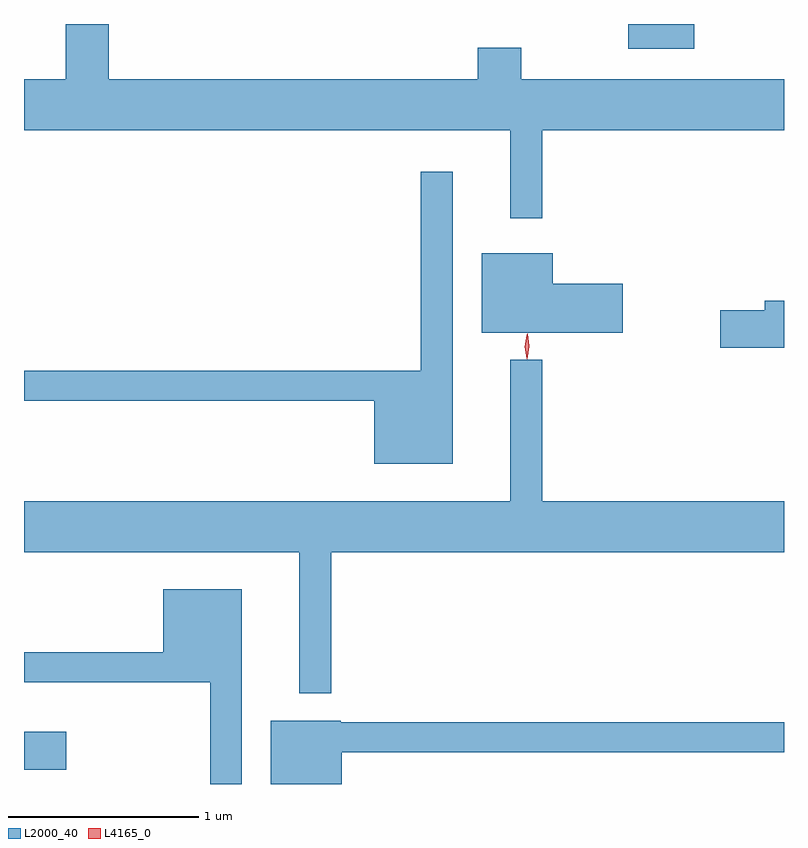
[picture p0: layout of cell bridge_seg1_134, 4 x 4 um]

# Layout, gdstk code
import gdstk
lib = gdstk.Library(unit=1e-6, precision=1e-09)
def R(c, l, rs):  # rectangles x0, y0, x1, y1
    for r in rs: c.add(gdstk.rectangle(r[:2], r[2:], *l))
def P(c, l, *ps):  # polygons
    for p in ps: c.add(gdstk.Polygon(p, *l))
L2000_40 = (2000, 40)
L4165_0 = (4165, 0)

bridge_seg1_134 = lib.new_cell('bridge_seg1_134')
R(bridge_seg1_134, L2000_40, [(1427.422,918.411,1427.644,918.609), (1430.603,922.206,1430.949,922.335)])
P(bridge_seg1_134, L2000_40, [(1430.149,921.776),(1431.422,921.776),(1431.422,922.044),(1430.039,922.044),(1430.039,922.209),(1429.811,922.209),(1429.811,922.044),(1427.869,922.044),(1427.869,922.335),(1427.641,922.335),(1427.641,922.044),(1427.422,922.044),(1427.422,921.776),(1429.981,921.776),(1429.981,921.313),(1430.149,921.313)],
  [(1429.679,921.558),(1429.511,921.558),(1429.511,920.509),(1427.422,920.509),(1427.422,920.351),(1429.266,920.351),(1429.266,920.021),(1429.679,920.021)],
  [(1430.574,920.969),(1430.204,920.969),(1430.204,921.129),(1429.831,921.129),(1429.831,920.711),(1430.574,920.711)],
  [(1431.422,920.879),(1431.321,920.879),(1431.321,920.829),(1431.086,920.829),(1431.086,920.631),(1431.422,920.631)],
  [(1429.039,919.556),(1431.422,919.556),(1431.422,919.824),(1430.149,919.824),(1430.149,920.568),(1429.981,920.568),(1429.981,919.824),(1427.422,919.824),(1427.422,919.556),(1428.871,919.556),(1428.871,918.813),(1429.039,918.813)],
  [(1428.569,919.359),(1428.156,919.359),(1428.156,919.029),(1427.422,919.029),(1427.422,918.871),(1428.401,918.871),(1428.401,918.335),(1428.569,918.335)],
  [(1429.094,918.501),(1431.422,918.501),(1431.422,918.659),(1429.09,918.659),(1429.09,918.669),(1428.721,918.669),(1428.721,918.335),(1429.094,918.335)])
P(bridge_seg1_134, L4165_0, [(1430.07,920.57),(1430.07,920.57),(1430.061,920.638),(1430.071,920.705),(1430.072,920.706),(1430.072,920.705),(1430.081,920.638),(1430.071,920.57)],
  [(1430.067,920.573),(1430.058,920.636),(1430.067,920.7),(1430.068,920.7),(1430.068,920.7),(1430.078,920.636),(1430.068,920.573),(1430.068,920.573)])

lib.write_gds('bridge_seg1_134.gds')
